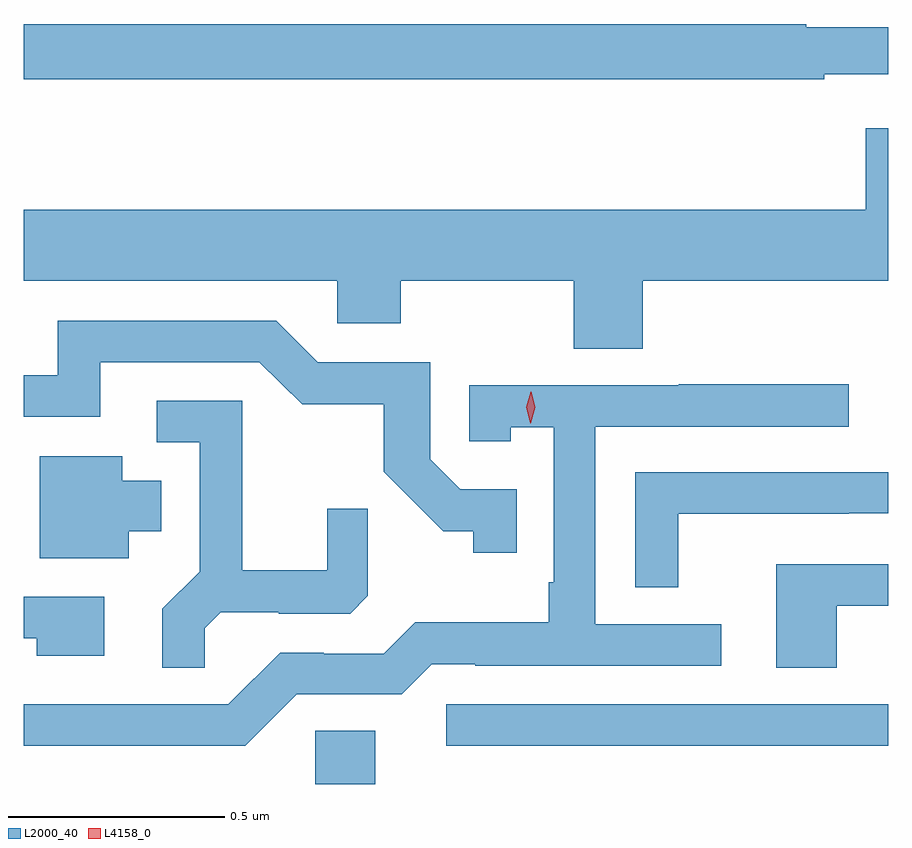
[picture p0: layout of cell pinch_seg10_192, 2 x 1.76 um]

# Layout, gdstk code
import gdstk
lib = gdstk.Library(unit=1e-6, precision=1e-09)
def R(c, l, rs):  # rectangles x0, y0, x1, y1
    for r in rs: c.add(gdstk.rectangle(r[:2], r[2:], *l))
def P(c, l, *ps):  # polygons
    for p in ps: c.add(gdstk.Polygon(p, *l))
L2000_40 = (2000, 40)
L4158_0 = (4158, 0)

pinch_seg10_192 = lib.new_cell('pinch_seg10_192')
R(pinch_seg10_192, L2000_40, [(751.146,1268.516,751.285,1268.639), (751.449,1268.604,752.472,1268.7)])
P(pinch_seg10_192, L2000_40, [(752.324,1270.158),(752.472,1270.158),(752.472,1270.267),(752.282,1270.267),(752.282,1270.274),(750.472,1270.274),(750.472,1270.146),(752.324,1270.146)],
  [(751.904,1269.68),(752.472,1269.68),(752.472,1270.033),(752.42,1270.033),(752.42,1269.844),(750.472,1269.844),(750.472,1269.68),(751.197,1269.68),(751.197,1269.582),(751.344,1269.582),(751.344,1269.68),(751.744,1269.68),(751.744,1269.523),(751.904,1269.523)],
  [(751.613,1269.198),(751.482,1269.198),(751.413,1269.267),(751.413,1269.492),(751.152,1269.492),(751.056,1269.588),(750.551,1269.588),(750.551,1269.462),(750.472,1269.462),(750.472,1269.366),(750.649,1269.366),(750.649,1269.492),(751.017,1269.492),(751.116,1269.394),(751.305,1269.394),(751.305,1269.238),(751.442,1269.101),(751.512,1269.101),(751.512,1269.051),(751.613,1269.051)],
  [(751.104,1268.724),(751.347,1268.724),(751.416,1268.793),(751.516,1268.793),(751.516,1268.79),(752.086,1268.79),(752.086,1268.886),(751.794,1268.886),(751.794,1269.342),(752.38,1269.342),(752.38,1269.441),(751.987,1269.441),(751.987,1269.438),(751.503,1269.438),(751.503,1269.309),(751.599,1269.309),(751.599,1269.341),(751.698,1269.341),(751.698,1268.983),(751.686,1268.983),(751.686,1268.89),(751.378,1268.89),(751.305,1268.817),(751.166,1268.817),(751.166,1268.82),(751.065,1268.82),(750.945,1268.7),(750.472,1268.7),(750.472,1268.604),(750.984,1268.604)],
  [(750.891,1268.876),(750.928,1268.913),(751.062,1268.913),(751.062,1268.91),(751.227,1268.91),(751.268,1268.951),(751.268,1269.153),(751.174,1269.153),(751.174,1269.01),(750.977,1269.01),(750.977,1269.402),(750.78,1269.402),(750.78,1269.306),(750.879,1269.306),(750.879,1269.007),(750.793,1268.921),(750.793,1268.785),(750.891,1268.785)],
  [(750.715,1269.101),(750.79,1269.101),(750.79,1269.217),(750.7,1269.217),(750.7,1269.274),(750.509,1269.274),(750.509,1269.038),(750.715,1269.038)],
  [(751.986,1269.141),(752.381,1269.141),(752.381,1269.142),(752.472,1269.142),(752.472,1269.237),(751.887,1269.237),(751.887,1268.971),(751.986,1268.971)],
  [(752.353,1268.928),(752.472,1268.928),(752.472,1269.024),(752.213,1269.024),(752.213,1268.785),(752.353,1268.785)],
  [(750.658,1268.949),(750.472,1268.949),(750.472,1268.853),(750.502,1268.853),(750.502,1268.813),(750.658,1268.813)])
P(pinch_seg10_192, L4158_0, [(751.644,1269.351),(751.644,1269.351),(751.635,1269.387),(751.645,1269.423),(751.645,1269.423),(751.646,1269.423),(751.655,1269.387),(751.645,1269.351)])

lib.write_gds('pinch_seg10_192.gds')
